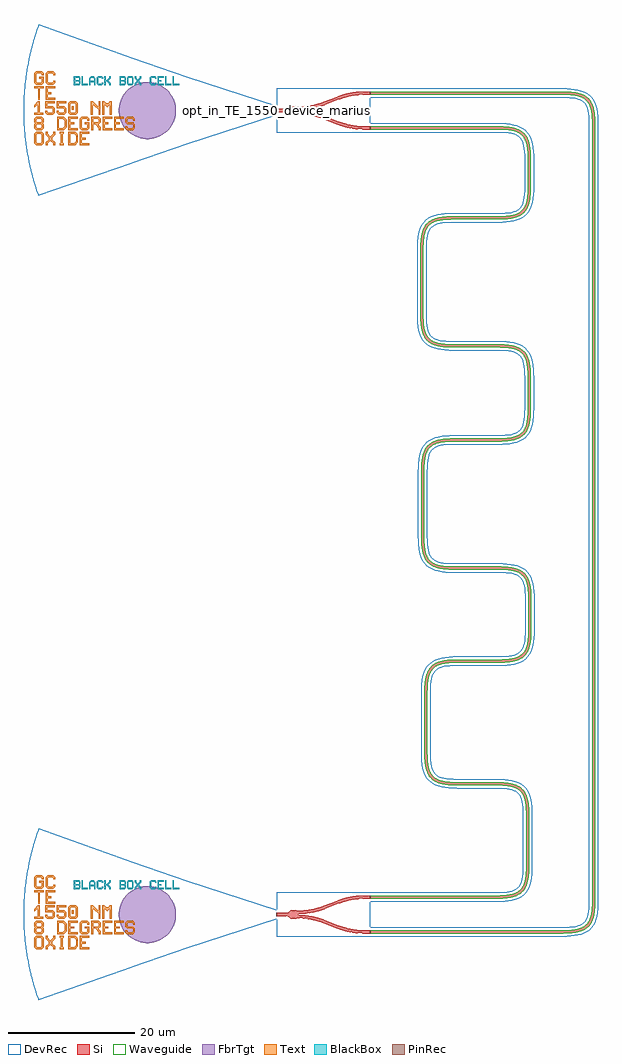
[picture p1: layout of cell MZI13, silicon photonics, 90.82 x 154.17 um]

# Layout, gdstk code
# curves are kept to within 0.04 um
import gdstk
lib = gdstk.Library(unit=1e-6, precision=1e-09)
def R(c, l, rs):  # rectangles x0, y0, x1, y1
    for r in rs: c.add(gdstk.rectangle(r[:2], r[2:], *l))
def P(c, l, *ps):  # polygons
    for p in ps: c.add(gdstk.Polygon(p, *l))
Si = (1, 0)
PinRec = (1, 10)
Waveguide = (1, 99)
Text = (10, 0)
DevRec = (68, 0)
FbrTgt = (81, 0)
BlackBox = (998, 0)

text_1 = lib.new_cell('TEXT$1')
P(text_1, BlackBox, [(0,0),(0,1.4),(0.8,1.4),(1,1.2),(0.2,1.2),(0.2,0.8),(0.7,0.8),(0.8,0.9),(0.8,1.1),(0.7,1.2),(1,1.2),(1,0.8),(0.9,0.7),(1,0.6),(0.2,0.6),(0.2,0.2),(0.7,0.2),(0.8,0.3),(0.8,0.5),(0.7,0.6),(1,0.6),(1,0.2),(0.8,0)],
  [(1.2,0),(1.2,1.4),(1.4,1.4),(1.4,0.2),(2.2,0.2),(2.2,0)],
  [(2.4,0),(2.4,1.1),(2.7,1.4),(3.1,1.4),(3.3,1.2),(2.8,1.2),(2.6,1),(2.6,0.7),(3.2,0.7),(3.2,1),(3,1.2),(3.3,1.2),(3.4,1.1),(3.4,0),(3.2,0),(3.2,0.5),(2.6,0.5),(2.6,0)],
  [(3.8,0),(3.6,0.2),(3.6,1.2),(3.8,1.4),(4.4,1.4),(4.6,1.2),(4.6,1),(4.4,1),(4.4,1.1),(4.3,1.2),(3.9,1.2),(3.8,1.1),(3.8,0.3),(3.9,0.2),(4.3,0.2),(4.4,0.3),(4.4,0.4),(4.6,0.4),(4.6,0.2),(4.4,0)],
  [(4.8,0),(4.8,1.4),(5,1.4),(5,0.8),(5.2,0.8),(5.6,1.2),(5.6,1.4),(5.8,1.4),(5.8,1.1),(5.4,0.7),(5.8,0.3),(5.8,0),(5.6,0),(5.6,0.2),(5.2,0.6),(5,0.6),(5,0)],
  [(7.2,0),(7.2,1.4),(8,1.4),(8.2,1.2),(7.4,1.2),(7.4,0.8),(7.9,0.8),(8,0.9),(8,1.1),(7.9,1.2),(8.2,1.2),(8.2,0.8),(8.1,0.7),(8.2,0.6),(7.4,0.6),(7.4,0.2),(7.9,0.2),(8,0.3),(8,0.5),(7.9,0.6),(8.2,0.6),(8.2,0.2),(8,0)],
  [(8.6,0),(8.4,0.2),(8.4,1.2),(8.6,1.4),(9.2,1.4),(9.4,1.2),(9.4,0.7),(9.2,0.7),(9.2,1.1),(9.1,1.2),(8.7,1.2),(8.6,1.1),(8.6,0.3),(8.7,0.2),(9.1,0.2),(9.2,0.3),(9.2,0.7),(9.4,0.7),(9.4,0.2),(9.2,0)],
  [(9.6,0),(9.6,0.3),(9.9,0.6),(9.9,0.8),(9.6,1.1),(9.6,1.4),(9.8,1.4),(9.8,1.2),(10.1,0.9),(10.4,1.2),(10.4,1.4),(10.6,1.4),(10.6,1.1),(10.3,0.8),(10.3,0.6),(10.6,0.3),(10.6,0),(10.4,0),(10.4,0.2),(10.1,0.5),(9.8,0.2),(9.8,0)],
  [(12.2,0),(12,0.2),(12,1.2),(12.2,1.4),(12.8,1.4),(13,1.2),(13,1),(12.8,1),(12.8,1.1),(12.7,1.2),(12.3,1.2),(12.2,1.1),(12.2,0.3),(12.3,0.2),(12.7,0.2),(12.8,0.3),(12.8,0.4),(13,0.4),(13,0.2),(12.8,0)],
  [(13.2,0),(13.2,1.4),(14.2,1.4),(14.2,1.2),(13.4,1.2),(13.4,0.8),(13.8,0.8),(13.8,0.6),(13.4,0.6),(13.4,0.2),(14.2,0.2),(14.2,0)],
  [(14.4,0),(14.4,1.4),(14.6,1.4),(14.6,0.2),(15.4,0.2),(15.4,0)],
  [(15.6,0),(15.6,1.4),(15.8,1.4),(15.8,0.2),(16.6,0.2),(16.6,0)])

gc_te_1550_8degoxide_bb = lib.new_cell('GC_TE_1550_8degOxide_BB')
R(gc_te_1550_8degoxide_bb, Text, [(-32.313,0.092,-32.013,0.692)])
P(gc_te_1550_8degoxide_bb, Text, [(-37.67,1.71),(-37.67,3.51),(-38.27,3.51),(-38.27,3.81),(-36.77,3.81),(-36.77,3.51),(-37.37,3.51),(-37.37,1.71)],
  [(-37.97,-5.49),(-38.27,-5.19),(-38.27,-3.69),(-37.97,-3.39),(-37.07,-3.39),(-36.77,-3.69),(-36.77,-4.44),(-37.07,-4.44),(-37.07,-3.84),(-37.22,-3.69),(-37.82,-3.69),(-37.97,-3.84),(-37.97,-5.04),(-37.82,-5.19),(-37.22,-5.19),(-37.07,-5.04),(-37.07,-4.44),(-36.77,-4.44),(-36.77,-5.19),(-37.07,-5.49)],
  [(-31.07,-5.49),(-31.07,-3.39),(-29.57,-3.39),(-29.57,-3.69),(-30.77,-3.69),(-30.77,-4.29),(-30.17,-4.29),(-30.17,-4.59),(-30.77,-4.59),(-30.77,-5.19),(-29.57,-5.19),(-29.57,-5.49)],
  [(-32.87,-3.09),(-32.87,-0.99),(-31.37,-0.99),(-31.37,-1.29),(-32.57,-1.29),(-32.57,-1.89),(-31.97,-1.89),(-31.97,-2.19),(-32.57,-2.19),(-32.57,-2.79),(-31.37,-2.79),(-31.37,-3.09)],
  [(-27.47,-3.09),(-27.47,-0.99),(-25.97,-0.99),(-25.97,-1.29),(-27.17,-1.29),(-27.17,-1.89),(-26.57,-1.89),(-26.57,-2.19),(-27.17,-2.19),(-27.17,-2.79),(-25.97,-2.79),(-25.97,-3.09)],
  [(-25.67,-3.09),(-25.67,-0.99),(-24.17,-0.99),(-24.17,-1.29),(-25.37,-1.29),(-25.37,-1.89),(-24.77,-1.89),(-24.77,-2.19),(-25.37,-2.19),(-25.37,-2.79),(-24.17,-2.79),(-24.17,-3.09)],
  [(-36.47,1.71),(-36.47,3.81),(-34.97,3.81),(-34.97,3.51),(-36.17,3.51),(-36.17,2.91),(-35.57,2.91),(-35.57,2.61),(-36.17,2.61),(-36.17,2.01),(-34.97,2.01),(-34.97,1.71)],
  [(-29.313,-0.658),(-29.313,1.442),(-29.013,1.442),(-28.263,0.692),(-28.113,0.692),(-28.113,1.442),(-27.813,1.442),(-27.813,-0.658),(-28.113,-0.658),(-28.113,0.092),(-28.863,0.842),(-29.013,0.842),(-29.013,-0.658)],
  [(-34.22,-5.49),(-34.22,-5.19),(-34.07,-5.19),(-34.07,-3.69),(-34.22,-3.69),(-34.22,-3.39),(-33.62,-3.39),(-33.62,-3.69),(-33.77,-3.69),(-33.77,-5.19),(-33.62,-5.19),(-33.62,-5.49)],
  [(-36.17,4.11),(-36.47,4.41),(-36.47,5.91),(-36.17,6.21),(-35.27,6.21),(-34.97,5.91),(-34.97,5.61),(-35.27,5.61),(-35.27,5.76),(-35.42,5.91),(-36.02,5.91),(-36.17,5.76),(-36.17,4.56),(-36.02,4.41),(-35.42,4.41),(-35.27,4.56),(-35.27,4.71),(-34.97,4.71),(-34.97,4.41),(-35.27,4.11)],
  [(-27.513,-0.658),(-27.513,1.442),(-27.213,1.442),(-26.913,1.142),(-26.613,1.142),(-26.313,1.442),(-26.013,1.442),(-26.013,-0.658),(-26.313,-0.658),(-26.313,0.842),(-26.463,0.842),(-26.763,0.542),(-27.063,0.842),(-27.213,0.842),(-27.213,-0.658)],
  [(-32.613,-0.658),(-32.913,-0.358),(-32.913,1.142),(-32.613,1.442),(-31.713,1.442),(-31.413,1.142),(-32.463,1.142),(-32.613,0.992),(-32.613,-0.208),(-32.463,-0.358),(-31.863,-0.358),(-31.713,-0.208),(-31.713,0.992),(-31.863,1.142),(-31.413,1.142),(-31.413,-0.358),(-31.713,-0.658)],
  [(-32.87,-5.49),(-32.87,-3.39),(-31.82,-3.39),(-31.52,-3.69),(-32.57,-3.69),(-32.57,-5.19),(-31.97,-5.19),(-31.67,-4.89),(-31.67,-3.99),(-31.97,-3.69),(-31.52,-3.69),(-31.37,-3.84),(-31.37,-5.04),(-31.82,-5.49)],
  [(-34.67,-3.09),(-34.67,-0.99),(-33.62,-0.99),(-33.32,-1.29),(-34.37,-1.29),(-34.37,-2.79),(-33.77,-2.79),(-33.47,-2.49),(-33.47,-1.59),(-33.77,-1.29),(-33.32,-1.29),(-33.17,-1.44),(-33.17,-2.64),(-33.62,-3.09)],
  [(-23.57,-3.09),(-23.87,-2.79),(-23.87,-2.49),(-23.57,-2.49),(-23.57,-2.64),(-23.42,-2.79),(-22.82,-2.79),(-22.67,-2.64),(-22.67,-2.34),(-22.82,-2.19),(-23.57,-2.19),(-23.87,-1.89),(-23.87,-1.29),(-23.57,-0.99),(-22.67,-0.99),(-22.37,-1.29),(-22.37,-1.59),(-22.67,-1.59),(-22.67,-1.44),(-22.82,-1.29),(-23.42,-1.29),(-23.57,-1.44),(-23.57,-1.74),(-23.42,-1.89),(-22.67,-1.89),(-22.37,-2.19),(-22.37,-2.79),(-22.67,-3.09)],
  [(-36.213,-0.658),(-36.513,-0.358),(-36.513,-0.058),(-36.213,-0.058),(-36.213,-0.208),(-36.063,-0.358),(-35.463,-0.358),(-35.313,-0.208),(-35.313,0.242),(-35.463,0.392),(-36.513,0.392),(-36.513,1.442),(-35.013,1.442),(-35.013,1.142),(-36.213,1.142),(-36.213,0.692),(-35.313,0.692),(-35.013,0.392),(-35.013,-0.358),(-35.313,-0.658)],
  [(-34.413,-0.658),(-34.713,-0.358),(-34.713,-0.058),(-34.413,-0.058),(-34.413,-0.208),(-34.263,-0.358),(-33.663,-0.358),(-33.513,-0.208),(-33.513,0.242),(-33.663,0.392),(-34.713,0.392),(-34.713,1.442),(-33.213,1.442),(-33.213,1.142),(-34.413,1.142),(-34.413,0.692),(-33.513,0.692),(-33.213,0.392),(-33.213,-0.358),(-33.513,-0.658)],
  [(-37.97,-3.09),(-38.27,-2.79),(-38.27,-2.19),(-38.12,-2.04),(-38.27,-1.89),(-38.27,-1.29),(-37.97,-0.99),(-37.07,-0.99),(-36.77,-1.29),(-37.82,-1.29),(-37.97,-1.44),(-37.97,-1.74),(-37.82,-1.89),(-37.22,-1.89),(-37.07,-1.74),(-37.07,-1.44),(-37.22,-1.29),(-36.77,-1.29),(-36.77,-1.89),(-36.92,-2.04),(-36.77,-2.19),(-37.82,-2.19),(-37.97,-2.34),(-37.97,-2.64),(-37.82,-2.79),(-37.22,-2.79),(-37.07,-2.64),(-37.07,-2.34),(-37.22,-2.19),(-36.77,-2.19),(-36.77,-2.79),(-37.07,-3.09)],
  [(-38.313,-0.658),(-38.313,-0.358),(-37.713,-0.358),(-37.713,0.842),(-37.863,0.842),(-38.163,0.542),(-38.313,0.542),(-38.313,0.842),(-37.713,1.442),(-37.413,1.442),(-37.413,-0.358),(-36.813,-0.358),(-36.813,-0.658)],
  [(-36.47,-5.49),(-36.47,-5.04),(-36.02,-4.59),(-36.02,-4.29),(-36.47,-3.84),(-36.47,-3.39),(-36.17,-3.39),(-36.17,-3.69),(-35.72,-4.14),(-35.27,-3.69),(-35.27,-3.39),(-34.97,-3.39),(-34.97,-3.84),(-35.42,-4.29),(-35.42,-4.59),(-34.97,-5.04),(-34.97,-5.49),(-35.27,-5.49),(-35.27,-5.19),(-35.72,-4.74),(-36.17,-5.19),(-36.17,-5.49)],
  [(-30.77,-3.09),(-31.07,-2.79),(-31.07,-1.29),(-30.77,-0.99),(-29.87,-0.99),(-29.57,-1.29),(-29.57,-1.59),(-29.87,-1.59),(-29.87,-1.44),(-30.02,-1.29),(-30.62,-1.29),(-30.77,-1.44),(-30.77,-2.64),(-30.62,-2.79),(-30.02,-2.79),(-29.87,-2.64),(-29.87,-2.19),(-30.32,-2.19),(-30.32,-1.89),(-29.57,-1.89),(-29.57,-2.79),(-29.87,-3.09)],
  [(-37.97,4.11),(-38.27,4.41),(-38.27,5.91),(-37.97,6.21),(-37.07,6.21),(-36.77,5.91),(-36.77,5.61),(-37.07,5.61),(-37.07,5.76),(-37.22,5.91),(-37.82,5.91),(-37.97,5.76),(-37.97,4.56),(-37.82,4.41),(-37.22,4.41),(-37.07,4.56),(-37.07,5.01),(-37.52,5.01),(-37.52,5.31),(-36.77,5.31),(-36.77,4.41),(-37.07,4.11)],
  [(-29.27,-3.09),(-29.27,-0.99),(-28.07,-0.99),(-27.77,-1.29),(-28.97,-1.29),(-28.97,-1.89),(-28.22,-1.89),(-28.07,-1.74),(-28.07,-1.44),(-28.22,-1.29),(-27.77,-1.29),(-27.77,-1.89),(-28.07,-2.19),(-28.07,-2.34),(-27.77,-2.64),(-27.77,-3.09),(-28.07,-3.09),(-28.07,-2.79),(-28.67,-2.19),(-28.97,-2.19),(-28.97,-3.09)])
P(gc_te_1550_8degoxide_bb, DevRec, [(-37.607,-13.5),(-38.627,-10.245),(-39.378,-6.832),(-39.647,-5.058),(-39.835,-3.274),(-39.969,0.224),(-39.812,3.541),(-39.331,7.097),(-38.557,10.505),(-37.546,13.669),(-22.8,8.353),(-14.109,5.36),(0,0.75),(0,-0.75),(-14.109,-5.36)])
P(gc_te_1550_8degoxide_bb, FbrTgt, [(-20.621,-4.5),(-21.495,-4.37),(-22.326,-4.073),(-23.084,-3.619),(-23.738,-3.026),(-24.264,-2.316),(-24.642,-1.518),(-24.857,-0.661),(-24.9,0.221),(-24.77,1.095),(-24.473,1.926),(-24.019,2.684),(-23.426,3.338),(-22.716,3.864),(-21.918,4.242),(-21.061,4.457),(-20.179,4.5),(-19.305,4.37),(-18.474,4.073),(-17.716,3.619),(-17.062,3.026),(-16.536,2.316),(-16.158,1.518),(-15.943,0.661),(-15.9,-0.221),(-16.03,-1.095),(-16.327,-1.926),(-16.781,-2.684),(-17.374,-3.338),(-18.084,-3.864),(-18.882,-4.242),(-19.739,-4.457)])
gc_te_1550_8degoxide_bb.add(gdstk.FlexPath([(-0.01,0),(0.01,0)], 0.5, ends="flush", simple_path=True, layer=1, datatype=10))  # PinRec
gc_te_1550_8degoxide_bb.add(gdstk.Reference(text_1, (-32,4)))
gc_te_1550_8degoxide_bb.add(gdstk.Label('opt1', (0,0), layer=1, texttype=10))
gc_te_1550_8degoxide_bb.add(gdstk.Label('Component=GC_TE_1550_8degOxide_BB', (-28,-5), layer=68, texttype=0))

ebeam_y_1550 = lib.new_cell('ebeam_y_1550')
R(ebeam_y_1550, Si, [(6.5,-3,7.4,-2.5), (-7.4,-0.25,-6,0.25), (6.5,2.5,7.4,3)])
P(ebeam_y_1550, Si, [(6.458,-3),(6.237,-2.997),(6.237,-2.497),(6.5,-2.5),(6.5,-3)],
  [(5.033,-2.908),(3.59,-2.634),(2.265,-2.21),(2.445,-1.744),(3.731,-2.154),(5.033,-2.404)],
  [(6.233,-2.997),(5.033,-2.908),(5.033,-2.404),(6.237,-2.497)],
  [(2.265,-2.21),(0.055,-1.356),(0.235,-0.89),(2.445,-1.744)],
  [(-0.762,-1.076),(-2.334,-0.724),(-4,-0.6),(-4,-0.1),(-2.381,-0.212),(-0.762,-0.555)],
  [(0.055,-1.356),(-0.762,-1.076),(-0.762,-0.555),(0.235,-0.89)],
  [(6.237,2.497),(6.237,2.997),(6.5,3),(6.5,2.5)],
  [(2.445,1.744),(2.267,2.211),(3.59,2.634),(5.033,2.908),(5.033,2.404),(3.731,2.154)],
  [(5.033,2.404),(5.033,2.908),(6.237,2.997),(6.237,2.497)],
  [(0.235,0.89),(0.055,1.356),(2.265,2.21),(2.445,1.744)],
  [(-4,0.1),(-4,0.6),(-2.334,0.724),(-0.762,1.076),(-0.762,0.555),(-2.381,0.212)],
  [(-0.762,0.555),(-0.762,1.076),(0.055,1.356),(0.235,0.89)],
  [(-5.122,-0.662),(-5.442,-0.374),(-5.808,-0.255),(-6,-0.25),(-6,0.25),(-5.817,0.253),(-5.442,0.374),(-5.122,0.662)],
  [(-4.957,-0.703),(-5.122,-0.662),(-5.122,0.662),(-4.538,0.703),(-4,0.6),(-4,-0.6),(-4.509,-0.701)])
R(ebeam_y_1550, DevRec, [(-7.4,-3.5,7.4,3.5)])
ebeam_y_1550.add(gdstk.FlexPath([(-7.35,0),(-7.45,0)], 0.5, ends="flush", simple_path=True, layer=1, datatype=10))  # PinRec
ebeam_y_1550.add(gdstk.FlexPath([(7.35,2.75),(7.45,2.75)], 0.5, ends="flush", simple_path=True, layer=1, datatype=10))  # PinRec
ebeam_y_1550.add(gdstk.FlexPath([(7.35,-2.75),(7.45,-2.75)], 0.5, ends="flush", simple_path=True, layer=1, datatype=10))  # PinRec
ebeam_y_1550.add(gdstk.Label('opt2', (7.4,2.75), layer=1, texttype=10))
ebeam_y_1550.add(gdstk.Label('opt3', (7.4,-2.75), layer=1, texttype=10))
ebeam_y_1550.add(gdstk.Label('opt1', (-7.4,0), layer=1, texttype=10))
ebeam_y_1550.add(gdstk.Label('Component=ebeam_y_1550', (-6,1.5), layer=68, texttype=0))
ebeam_y_1550.add(gdstk.Label('Lumerical_INTERCONNECT_library=Design kits/ebeam', (-6.86,-2.19), layer=68, texttype=0))
ebeam_y_1550.add(gdstk.Label('Ref: Y Zhang, Opt. Express, 21/1, 2013', (-7.5,-1), layer=10, texttype=0))

waveguide_18 = lib.new_cell('Waveguide$18')
P(waveguide_18, Si, [(54.769,10.5),(54.769,11),(86.278,11.039),(87.551,11.229),(88.165,11.437),(88.565,11.657),(88.894,11.927),(89.165,12.257),(89.385,12.657),(89.593,13.271),(89.768,14.365),(89.821,15.75),(89.821,138.25),(89.767,139.636),(89.592,140.73),(89.384,141.344),(89.164,141.744),(88.894,142.073),(88.564,142.344),(88.164,142.564),(87.55,142.772),(86.277,142.962),(54.769,143),(54.769,143.5),(85.292,143.499),(86.684,143.427),(87.674,143.256),(88.368,143.02),(88.842,142.76),(89.248,142.427),(89.651,141.911),(89.895,141.418),(90.113,140.7),(90.247,139.864),(90.316,138.688),(90.321,15.75),(90.266,14.319),(90.077,13.147),(89.841,12.453),(89.581,11.979),(89.248,11.573),(88.843,11.241),(88.369,10.981),(87.822,10.785),(86.314,10.541)])
P(waveguide_18, Waveguide, [(54.769,10.5),(54.769,11),(86.278,11.039),(87.551,11.229),(88.165,11.437),(88.565,11.657),(88.894,11.927),(89.165,12.257),(89.385,12.657),(89.593,13.271),(89.768,14.365),(89.821,15.75),(89.821,138.25),(89.767,139.636),(89.592,140.73),(89.384,141.344),(89.164,141.744),(88.894,142.073),(88.564,142.344),(88.164,142.564),(87.55,142.772),(86.277,142.962),(54.769,143),(54.769,143.5),(85.292,143.499),(86.684,143.427),(87.674,143.256),(88.368,143.02),(88.842,142.76),(89.248,142.427),(89.651,141.911),(89.895,141.418),(90.113,140.7),(90.247,139.864),(90.316,138.688),(90.321,15.75),(90.266,14.319),(90.077,13.147),(89.841,12.453),(89.581,11.979),(89.248,11.573),(88.843,11.241),(88.369,10.981),(87.822,10.785),(86.314,10.541)])
P(waveguide_18, DevRec, [(54.769,10),(54.769,11.5),(85.071,11.5),(86.302,11.543),(87.265,11.676),(88.23,12.036),(88.447,12.193),(88.786,12.592),(89.146,13.557),(89.279,14.52),(89.321,15.75),(89.321,138.25),(89.223,139.995),(89.045,140.826),(88.925,141.146),(88.628,141.626),(88.446,141.808),(87.966,142.105),(86.815,142.403),(85.72,142.49),(54.769,142.5),(54.769,144),(85.071,144),(86.421,143.954),(87.58,143.791),(88.58,143.473),(89.021,143.239),(89.42,142.948),(90.059,142.201),(90.293,141.76),(90.611,140.76),(90.81,138.952),(90.821,15.75),(90.775,14.4),(90.612,13.241),(90.294,12.241),(90.06,11.8),(89.421,11.053),(89.022,10.762),(88.099,10.346),(87.581,10.21),(86.422,10.047),(85.084,10)])
waveguide_18.add(gdstk.FlexPath([(54.779,143.25),(54.759,143.25)], 0.5, ends="flush", simple_path=True, layer=1, datatype=10))  # PinRec
waveguide_18.add(gdstk.FlexPath([(54.779,10.75),(54.759,10.75)], 0.5, ends="flush", simple_path=True, layer=1, datatype=10))  # PinRec
waveguide_18.add(gdstk.Label('opt1', (54.769,143.25), layer=1, texttype=10))
waveguide_18.add(gdstk.Label('opt2', (54.769,10.75), layer=1, texttype=10))
waveguide_18.add(gdstk.Label('Lumerical_INTERCONNECT_library=Design kits/EBeam', (54.769,143.15), layer=68, texttype=0))
waveguide_18.add(gdstk.Label('Component=ebeam_wg_integral_1550', (54.769,143.35), layer=68, texttype=0))
waveguide_18.add(gdstk.Label('cellName=Waveguide', (54.769,143.45), layer=68, texttype=0))
waveguide_18.add(gdstk.Label('Spice_param:wg_length=0.000200001 wg_width=5e-07 points="[[54.769,143.25],[90.071,143.25],[90.071,10.75],[54.769,10.75]]" radius=5e-06', (54.769,143.25), layer=68, texttype=0))
waveguide_18.add(gdstk.Label('Length=200.001 (microns)', (54.769,142.65), layer=68, texttype=0))
waveguide_18.add(gdstk.Label('waveguide_type=Strip TE 1550 nm, w=500 nm', (54.769,143.05), layer=68, texttype=0))

waveguide_20 = lib.new_cell('Waveguide$20')
P(waveguide_20, Si, [(54.769,16),(54.769,16.5),(74.639,16.5),(76.368,16.591),(77.504,16.845),(77.943,17.041),(78.386,17.354),(78.733,17.757),(78.953,18.157),(79.252,19.206),(79.388,21.033),(79.379,29.782),(79.223,31.347),(79.044,32.015),(78.848,32.454),(78.535,32.897),(78.039,33.303),(77.503,33.556),(76.683,33.763),(75.066,33.896),(68.556,33.9),(67.127,33.956),(66.266,34.076),(65.526,34.275),(64.898,34.57),(64.382,34.973),(63.978,35.49),(63.683,36.118),(63.484,36.858),(63.349,37.908),(63.309,48.533),(63.428,50.494),(63.554,51.134),(63.79,51.828),(64.05,52.302),(64.382,52.707),(64.788,53.04),(65.392,53.355),(66.429,53.635),(67.708,53.763),(75.206,53.782),(76.549,53.852),(77.331,53.976),(77.971,54.17),(78.483,54.437),(78.886,54.784),(79.199,55.227),(79.436,55.789),(79.627,56.641),(79.712,57.509),(79.729,63.862),(79.648,64.959),(79.51,65.71),(79.198,66.534),(78.735,67.127),(78.082,67.544),(77.33,67.785),(75.62,67.971),(68.055,67.98),(66.444,68.054),(65.608,68.188),(64.89,68.406),(64.286,68.721),(63.791,69.148),(63.41,69.687),(63.135,70.337),(62.953,71.1),(62.848,71.988),(62.808,83.463),(62.927,85.424),(63.053,86.064),(63.289,86.758),(63.549,87.232),(63.881,87.637),(64.287,87.97),(64.891,88.285),(65.928,88.565),(67.207,88.693),(74.889,88.71),(76.275,88.764),(77.086,88.876),(77.754,89.055),(78.29,89.308),(78.712,89.637),(79.042,90.06),(79.295,90.596),(79.474,91.264),(79.601,92.254),(79.637,98.537),(79.501,100.365),(79.249,101.302),(78.854,101.988),(78.556,102.286),(78.192,102.53),(77.368,102.842),(76.617,102.98),(75.52,103.061),(67.916,103.07),(66.305,103.144),(65.469,103.278),(64.751,103.496),(64.147,103.811),(63.652,104.238),(63.271,104.777),(62.996,105.427),(62.814,106.19),(62.709,107.078),(62.669,118.543),(62.788,120.504),(62.914,121.144),(63.15,121.838),(63.41,122.312),(63.742,122.717),(64.148,123.05),(64.752,123.365),(65.789,123.645),(67.068,123.773),(74.899,123.79),(76.285,123.844),(77.096,123.956),(77.764,124.135),(78.3,124.388),(78.722,124.717),(79.052,125.14),(79.305,125.676),(79.484,126.344),(79.611,127.334),(79.644,133.178),(79.595,134.136),(79.453,135.092),(79.108,136.054),(78.864,136.418),(78.481,136.781),(77.64,137.197),(76.284,137.447),(74.899,137.5),(54.769,137.5),(54.769,138),(75.12,137.999),(77.029,137.855),(78.196,137.52),(78.981,137.017),(79.546,136.294),(79.774,135.783),(79.941,135.2),(80.075,134.364),(80.139,133.398),(80.14,127.893),(80.004,126.41),(79.669,125.243),(79.332,124.66),(78.78,124.108),(78.067,123.716),(77.192,123.466),(76.331,123.346),(75.337,123.295),(67.702,123.289),(66.534,123.237),(65.723,123.125),(65.055,122.946),(64.426,122.634),(64.023,122.287),(63.71,121.844),(63.473,121.282),(63.282,120.43),(63.197,119.562),(63.207,107.114),(63.397,105.841),(63.605,105.227),(63.825,104.827),(64.096,104.497),(64.425,104.227),(65.306,103.835),(66.19,103.661),(67.287,103.58),(75.11,103.569),(76.32,103.515),(77.181,103.395),(77.921,103.196),(78.549,102.901),(79.066,102.497),(79.469,101.981),(79.764,101.353),(79.963,100.613),(80.098,99.563),(80.135,93.023),(80.066,91.847),(79.932,91.011),(79.6,90.038),(79.066,89.283),(78.433,88.813),(77.493,88.455),(76.68,88.305),(75.537,88.22),(67.841,88.209),(66.673,88.157),(65.862,88.045),(65.194,87.866),(64.565,87.554),(64.162,87.207),(63.849,86.764),(63.612,86.202),(63.421,85.35),(63.336,84.482),(63.317,72.599),(63.473,71.034),(63.652,70.366),(63.848,69.927),(64.092,69.563),(64.39,69.265),(64.754,69.021),(65.316,68.784),(66.168,68.593),(67.426,68.49),(75.21,68.479),(76.42,68.425),(77.281,68.305),(78.021,68.106),(78.649,67.811),(79.071,67.497),(79.498,67.002),(79.813,66.398),(80.031,65.68),(80.165,64.844),(80.237,63.453),(80.239,58.53),(80.145,56.74),(79.865,55.498),(79.422,54.65),(78.761,54.021),(78.287,53.761),(77.74,53.565),(76.78,53.375),(75.637,53.29),(68.342,53.279),(67.174,53.227),(66.363,53.115),(65.695,52.936),(65.066,52.624),(64.663,52.277),(64.35,51.834),(64.113,51.272),(63.947,50.575),(63.848,49.737),(63.813,38.723),(63.946,37.106),(64.245,36.057),(64.465,35.657),(64.812,35.254),(65.255,34.941),(65.694,34.745),(66.669,34.513),(67.729,34.418),(74.86,34.399),(76.429,34.306),(77.242,34.156),(77.936,33.92),(78.519,33.583),(78.99,33.134),(79.349,32.573),(79.604,31.901),(79.77,31.114),(79.861,30.2),(79.888,21.029),(79.744,19.12),(79.562,18.357),(79.35,17.828),(79.072,17.37),(78.722,16.984),(78.3,16.67),(77.807,16.426),(77.243,16.245),(76.43,16.095),(74.642,16)])
P(waveguide_20, Waveguide, [(54.769,16),(54.769,16.5),(74.639,16.5),(76.368,16.591),(77.504,16.845),(77.943,17.041),(78.386,17.354),(78.733,17.757),(78.953,18.157),(79.252,19.206),(79.388,21.033),(79.379,29.782),(79.223,31.347),(79.044,32.015),(78.848,32.454),(78.535,32.897),(78.039,33.303),(77.503,33.556),(76.683,33.763),(75.066,33.896),(68.556,33.9),(67.127,33.956),(66.266,34.076),(65.526,34.275),(64.898,34.57),(64.382,34.973),(63.978,35.49),(63.683,36.118),(63.484,36.858),(63.349,37.908),(63.309,48.533),(63.428,50.494),(63.554,51.134),(63.79,51.828),(64.05,52.302),(64.382,52.707),(64.788,53.04),(65.392,53.355),(66.429,53.635),(67.708,53.763),(75.206,53.782),(76.549,53.852),(77.331,53.976),(77.971,54.17),(78.483,54.437),(78.886,54.784),(79.199,55.227),(79.436,55.789),(79.627,56.641),(79.712,57.509),(79.729,63.862),(79.648,64.959),(79.51,65.71),(79.198,66.534),(78.735,67.127),(78.082,67.544),(77.33,67.785),(75.62,67.971),(68.055,67.98),(66.444,68.054),(65.608,68.188),(64.89,68.406),(64.286,68.721),(63.791,69.148),(63.41,69.687),(63.135,70.337),(62.953,71.1),(62.848,71.988),(62.808,83.463),(62.927,85.424),(63.053,86.064),(63.289,86.758),(63.549,87.232),(63.881,87.637),(64.287,87.97),(64.891,88.285),(65.928,88.565),(67.207,88.693),(74.889,88.71),(76.275,88.764),(77.086,88.876),(77.754,89.055),(78.29,89.308),(78.712,89.637),(79.042,90.06),(79.295,90.596),(79.474,91.264),(79.601,92.254),(79.637,98.537),(79.501,100.365),(79.249,101.302),(78.854,101.988),(78.556,102.286),(78.192,102.53),(77.368,102.842),(76.617,102.98),(75.52,103.061),(67.916,103.07),(66.305,103.144),(65.469,103.278),(64.751,103.496),(64.147,103.811),(63.652,104.238),(63.271,104.777),(62.996,105.427),(62.814,106.19),(62.709,107.078),(62.669,118.543),(62.788,120.504),(62.914,121.144),(63.15,121.838),(63.41,122.312),(63.742,122.717),(64.148,123.05),(64.752,123.365),(65.789,123.645),(67.068,123.773),(74.899,123.79),(76.285,123.844),(77.096,123.956),(77.764,124.135),(78.3,124.388),(78.722,124.717),(79.052,125.14),(79.305,125.676),(79.484,126.344),(79.611,127.334),(79.644,133.178),(79.595,134.136),(79.453,135.092),(79.108,136.054),(78.864,136.418),(78.481,136.781),(77.64,137.197),(76.284,137.447),(74.899,137.5),(54.769,137.5),(54.769,138),(75.12,137.999),(77.029,137.855),(78.196,137.52),(78.981,137.017),(79.546,136.294),(79.774,135.783),(79.941,135.2),(80.075,134.364),(80.139,133.398),(80.14,127.893),(80.004,126.41),(79.669,125.243),(79.332,124.66),(78.78,124.108),(78.067,123.716),(77.192,123.466),(76.331,123.346),(75.337,123.295),(67.702,123.289),(66.534,123.237),(65.723,123.125),(65.055,122.946),(64.426,122.634),(64.023,122.287),(63.71,121.844),(63.473,121.282),(63.282,120.43),(63.197,119.562),(63.207,107.114),(63.397,105.841),(63.605,105.227),(63.825,104.827),(64.096,104.497),(64.425,104.227),(65.306,103.835),(66.19,103.661),(67.287,103.58),(75.11,103.569),(76.32,103.515),(77.181,103.395),(77.921,103.196),(78.549,102.901),(79.066,102.497),(79.469,101.981),(79.764,101.353),(79.963,100.613),(80.098,99.563),(80.135,93.023),(80.066,91.847),(79.932,91.011),(79.6,90.038),(79.066,89.283),(78.433,88.813),(77.493,88.455),(76.68,88.305),(75.537,88.22),(67.841,88.209),(66.673,88.157),(65.862,88.045),(65.194,87.866),(64.565,87.554),(64.162,87.207),(63.849,86.764),(63.612,86.202),(63.421,85.35),(63.336,84.482),(63.317,72.599),(63.473,71.034),(63.652,70.366),(63.848,69.927),(64.092,69.563),(64.39,69.265),(64.754,69.021),(65.316,68.784),(66.168,68.593),(67.426,68.49),(75.21,68.479),(76.42,68.425),(77.281,68.305),(78.021,68.106),(78.649,67.811),(79.071,67.497),(79.498,67.002),(79.813,66.398),(80.031,65.68),(80.165,64.844),(80.237,63.453),(80.239,58.53),(80.145,56.74),(79.865,55.498),(79.422,54.65),(78.761,54.021),(78.287,53.761),(77.74,53.565),(76.78,53.375),(75.637,53.29),(68.342,53.279),(67.174,53.227),(66.363,53.115),(65.695,52.936),(65.066,52.624),(64.663,52.277),(64.35,51.834),(64.113,51.272),(63.947,50.575),(63.848,49.737),(63.813,38.723),(63.946,37.106),(64.245,36.057),(64.465,35.657),(64.812,35.254),(65.255,34.941),(65.694,34.745),(66.669,34.513),(67.729,34.418),(74.86,34.399),(76.429,34.306),(77.242,34.156),(77.936,33.92),(78.519,33.583),(78.99,33.134),(79.349,32.573),(79.604,31.901),(79.77,31.114),(79.861,30.2),(79.888,21.029),(79.744,19.12),(79.562,18.357),(79.35,17.828),(79.072,17.37),(78.722,16.984),(78.3,16.67),(77.807,16.426),(77.243,16.245),(76.43,16.095),(74.642,16)])
P(waveguide_20, DevRec, [(54.769,15.5),(54.769,17),(74.639,17),(76.384,17.098),(77.215,17.276),(77.535,17.396),(78.015,17.693),(78.197,17.875),(78.494,18.355),(78.714,19.057),(78.847,20.02),(78.889,21.251),(78.878,29.8),(78.713,31.344),(78.353,32.309),(78.014,32.708),(77.534,33.005),(76.832,33.225),(75.869,33.358),(67.857,33.411),(66.606,33.512),(65.531,33.746),(65.049,33.928),(64.209,34.453),(63.861,34.801),(63.57,35.2),(63.154,36.123),(63.018,36.641),(62.855,37.8),(62.809,39.149),(62.809,48.543),(62.921,50.483),(63.155,51.558),(63.337,52.04),(63.862,52.88),(64.21,53.228),(65.05,53.753),(66.05,54.071),(67.858,54.27),(76.22,54.323),(77.565,54.556),(78.148,54.816),(78.547,55.155),(78.844,55.635),(79.064,56.337),(79.229,57.881),(79.228,63.88),(79.063,65.424),(78.843,66.126),(78.546,66.606),(78.364,66.788),(77.884,67.085),(77.182,67.305),(75.638,67.47),(68.045,67.48),(66.105,67.592),(65.03,67.826),(64.548,68.008),(63.708,68.533),(63.36,68.881),(63.069,69.28),(62.653,70.203),(62.517,70.721),(62.354,71.88),(62.308,73.229),(62.308,83.473),(62.42,85.413),(62.654,86.488),(62.836,86.97),(63.361,87.81),(63.709,88.158),(64.549,88.683),(65.549,89.001),(67.357,89.2),(76.12,89.253),(77.465,89.486),(77.785,89.606),(78.265,89.903),(78.604,90.302),(78.864,90.885),(79.097,92.23),(79.139,98.32),(79.041,100.065),(78.863,100.896),(78.743,101.216),(78.446,101.696),(78.264,101.878),(77.784,102.175),(77.082,102.395),(75.538,102.56),(67.906,102.57),(65.966,102.682),(64.891,102.916),(64.409,103.098),(63.569,103.623),(63.221,103.971),(62.93,104.37),(62.514,105.293),(62.378,105.811),(62.215,106.97),(62.169,108.319),(62.169,118.553),(62.281,120.493),(62.515,121.568),(62.697,122.05),(63.222,122.89),(63.57,123.238),(64.41,123.763),(65.41,124.081),(67.218,124.28),(76.13,124.333),(77.475,124.566),(77.795,124.686),(78.275,124.983),(78.614,125.382),(78.874,125.965),(79.107,127.31),(79.138,133.4),(78.973,134.944),(78.613,135.909),(78.456,136.126),(78.057,136.465),(77.092,136.825),(76.129,136.958),(54.769,137),(54.769,138.5),(74.899,138.5),(76.249,138.454),(77.408,138.291),(78.408,137.973),(79.248,137.448),(79.887,136.701),(80.121,136.26),(80.439,135.26),(80.638,133.452),(80.639,127.839),(80.44,126.031),(80.122,125.031),(79.597,124.191),(79.249,123.843),(78.409,123.318),(77.409,123),(75.601,122.801),(66.689,122.748),(65.344,122.515),(64.761,122.255),(64.362,121.916),(64.065,121.436),(63.845,120.734),(63.68,119.19),(63.711,107.09),(63.844,106.127),(64.204,105.162),(64.361,104.945),(64.76,104.606),(65.343,104.346),(66.174,104.168),(67.269,104.081),(76.239,104.024),(77.398,103.861),(77.916,103.725),(78.839,103.309),(79.238,103.018),(79.586,102.67),(80.111,101.83),(80.429,100.83),(80.592,99.671),(80.629,92.759),(80.43,90.951),(80.112,89.951),(79.587,89.111),(78.84,88.472),(78.399,88.238),(77.399,87.92),(75.591,87.721),(66.828,87.668),(65.483,87.435),(64.9,87.175),(64.501,86.836),(64.204,86.356),(63.984,85.654),(63.819,84.11),(63.818,72.581),(63.905,71.486),(64.203,70.335),(64.5,69.855),(64.682,69.673),(65.162,69.376),(65.482,69.256),(66.313,69.078),(67.408,68.991),(76.339,68.934),(77.498,68.771),(78.016,68.635),(78.939,68.219),(79.338,67.928),(79.686,67.58),(80.211,66.74),(80.393,66.258),(80.627,65.183),(80.739,63.243),(80.729,57.829),(80.628,56.578),(80.394,55.503),(80.212,55.021),(79.687,54.181),(78.94,53.542),(78.017,53.126),(76.942,52.892),(75.691,52.791),(67.329,52.738),(65.984,52.505),(65.401,52.245),(65.002,51.906),(64.705,51.426),(64.485,50.724),(64.32,49.18),(64.319,38.501),(64.406,37.406),(64.704,36.255),(65.001,35.775),(65.183,35.593),(65.663,35.296),(65.983,35.176),(66.814,34.998),(67.909,34.911),(74.64,34.9),(76.591,34.789),(77.666,34.555),(78.148,34.373),(78.988,33.848),(79.336,33.5),(79.627,33.101),(80.043,32.178),(80.179,31.66),(80.342,30.501),(80.389,29.163),(80.389,21.249),(80.343,19.9),(80.18,18.741),(79.862,17.741),(79.628,17.3),(78.989,16.553),(78.149,16.028),(77.667,15.846),(76.592,15.612),(74.652,15.5)])
waveguide_20.add(gdstk.FlexPath([(54.779,137.75),(54.759,137.75)], 0.5, ends="flush", simple_path=True, layer=1, datatype=10))  # PinRec
waveguide_20.add(gdstk.FlexPath([(54.779,16.25),(54.759,16.25)], 0.5, ends="flush", simple_path=True, layer=1, datatype=10))  # PinRec
waveguide_20.add(gdstk.Label('opt1', (54.769,137.75), layer=1, texttype=10))
waveguide_20.add(gdstk.Label('opt2', (54.769,16.25), layer=1, texttype=10))
waveguide_20.add(gdstk.Label('Lumerical_INTERCONNECT_library=Design kits/EBeam', (54.769,137.65), layer=68, texttype=0))
waveguide_20.add(gdstk.Label('Component=ebeam_wg_integral_1550', (54.769,137.85), layer=68, texttype=0))
waveguide_20.add(gdstk.Label('cellName=Waveguide', (54.769,137.95), layer=68, texttype=0))
waveguide_20.add(gdstk.Label('Length=249.999 (microns)', (54.769,137.15), layer=68, texttype=0))
waveguide_20.add(gdstk.Label('waveguide_type=Strip TE 1550 nm, w=500 nm', (54.769,137.55), layer=68, texttype=0))

mzi13 = lib.new_cell('MZI13')
mzi13.add(gdstk.Reference(gc_te_1550_8degoxide_bb, (39.969,13.5)))
mzi13.add(gdstk.Reference(gc_te_1550_8degoxide_bb, (39.969,140.5)))
mzi13.add(gdstk.Reference(ebeam_y_1550, (47.369,140.5)))
mzi13.add(gdstk.Reference(ebeam_y_1550, (47.369,13.5)))
mzi13.add(gdstk.Reference(waveguide_18, (0,0)))
mzi13.add(gdstk.Reference(waveguide_20, (0,0)))
mzi13.add(gdstk.Label('opt_in_TE_1550_device_mariusminnen_MZI13', (39.959,140.5), layer=10, texttype=0))

lib.write_gds('MZI13.gds')
